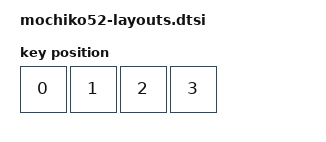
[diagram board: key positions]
#include "./position_map.dtsi"
#include <physical_layouts.dtsi>

/ {
    mochiko52_physical_layout: mochiko52_physical_layout {
        compatible = "zmk,physical-layout";
        display-name = "mochiko52";
        transform = <&default_transform>;
        kscan = <&kscan0>;
        keys  //                     w   h    x    y     rot    rx    ry
            = <&key_physical_attrs 100 100    0    0       0     0     0>
            , <&key_physical_attrs 100 100  100    0       0     0     0>
            , <&key_physical_attrs 100 100  200    0       0     0     0>
            , <&key_physical_attrs 100 100  300    0       0     0     0>

            ;
    };
};

&layouts_mochiko52_position_map {
    layout_mochiko52_map: layout_mable {
        physical-layout = <&mochiko52_physical_layout>;
        positions
            = < 0 >
            , <1 >
            , <2 >
            , < 3>
            , <4>
            ;
    };
};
